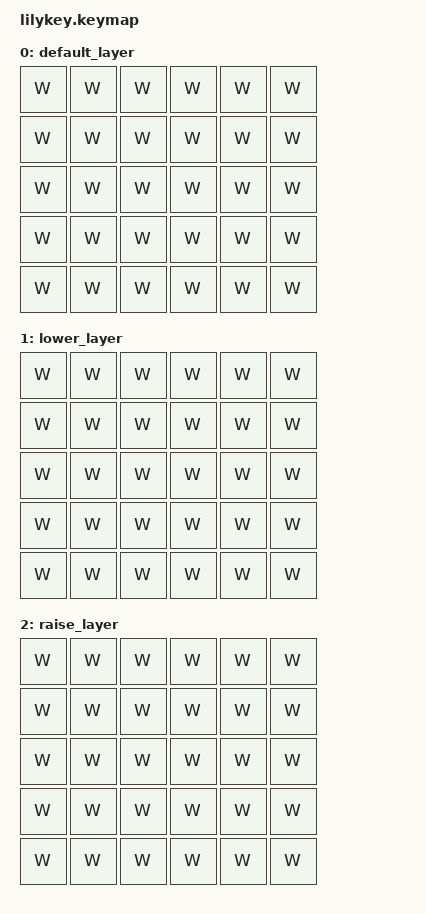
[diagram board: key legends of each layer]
#include <behaviors.dtsi>
#include <dt-bindings/zmk/keys.h>
#include <dt-bindings/zmk/bt.h>

/ {
    keymap {
        compatible = "zmk,keymap";

        default_layer {
            // Every key is 'w' (6 columns for right side)
            
            bindings = <
&kp W &kp W &kp W &kp W &kp W &kp W
&kp W &kp W &kp W &kp W &kp W &kp W
&kp W &kp W &kp W &kp W &kp W &kp W
&kp W &kp W &kp W &kp W &kp W &kp W
&kp W &kp W &kp W &kp W &kp W &kp W
            >;
        };

        lower_layer {
            // All 'w' (6 columns for right side)
            
            bindings = <
&kp W &kp W &kp W &kp W &kp W &kp W
&kp W &kp W &kp W &kp W &kp W &kp W
&kp W &kp W &kp W &kp W &kp W &kp W
&kp W &kp W &kp W &kp W &kp W &kp W
&kp W &kp W &kp W &kp W &kp W &kp W
            >;
        };

        raise_layer {
            // All 'w' (6 columns for right side)
            
            bindings = <
&kp W &kp W &kp W &kp W &kp W &kp W
&kp W &kp W &kp W &kp W &kp W &kp W
&kp W &kp W &kp W &kp W &kp W &kp W
&kp W &kp W &kp W &kp W &kp W &kp W
&kp W &kp W &kp W &kp W &kp W &kp W
            >;
        };
    };
};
